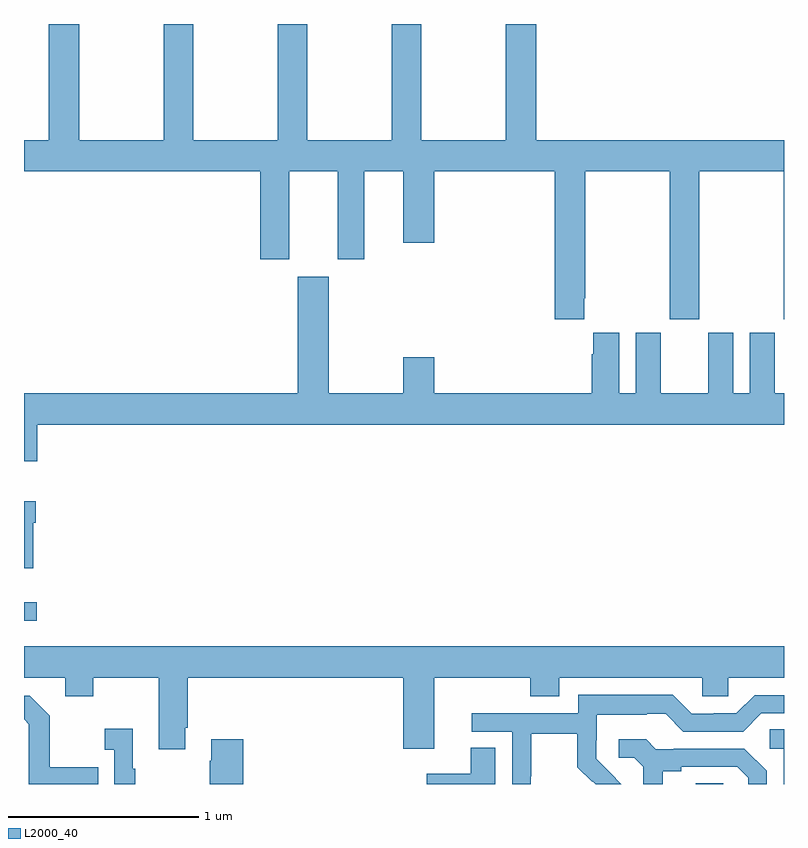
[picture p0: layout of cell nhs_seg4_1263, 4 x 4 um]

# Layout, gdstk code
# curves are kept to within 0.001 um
import gdstk
lib = gdstk.Library(unit=1e-6, precision=1e-09)
def R(c, l, rs):  # rectangles x0, y0, x1, y1
    for r in rs: c.add(gdstk.rectangle(r[:2], r[2:], *l))
def P(c, l, *ps):  # polygons
    for p in ps: c.add(gdstk.Polygon(p, *l))
L2000_40 = (2000, 40)

nhs_seg4_1263 = lib.new_cell('nhs_seg4_1263')
R(nhs_seg4_1263, L2000_40, [(178.535,822.9,178.68,822.905), (175,823.76,175.066,823.857)])
P(nhs_seg4_1263, L2000_40, [(177.695,826.9),(177.535,826.9),(177.535,826.288),(177.09,826.288),(177.09,826.9),(176.935,826.9),(176.935,826.288),(176.49,826.288),(176.49,826.9),(176.335,826.9),(176.335,826.288),(175.89,826.288),(175.89,826.9),(175.735,826.9),(175.735,826.288),(175.29,826.288),(175.29,826.9),(175.13,826.9),(175.13,826.288),(175,826.288),(175,826.124),(176.243,826.124),(176.243,825.663),(176.395,825.663),(176.395,826.124),(176.651,826.124),(176.651,825.663),(176.791,825.663),(176.791,826.124),(176.996,826.124),(176.996,825.75),(177.16,825.75),(177.16,826.124),(177.794,826.124),(177.794,825.345),(177.949,825.345),(177.949,825.457),(177.954,825.457),(177.954,826.124),(178.399,826.124),(178.399,825.345),(178.554,825.345),(178.554,826.124),(178.999,826.124),(178.999,825.345),(179,825.345),(179,826.288),(177.695,826.288)],
  [(179,824.956),(178.951,824.956),(178.951,825.274),(178.82,825.274),(178.82,824.956),(178.732,824.956),(178.732,825.274),(178.601,825.274),(178.601,824.956),(178.351,824.956),(178.351,825.274),(178.22,825.274),(178.22,824.956),(178.132,824.956),(178.132,825.274),(177.995,825.274),(177.995,825.161),(177.989,825.161),(177.989,824.956),(177.16,824.956),(177.16,825.145),(176.996,825.145),(176.996,824.956),(176.605,824.956),(176.605,825.571),(176.441,825.571),(176.441,824.956),(175,824.956),(175,824.598),(175.07,824.598),(175.07,824.792),(179,824.792)],
  [(175.048,824.276),(175.061,824.276),(175.061,824.389),(175,824.389),(175,824.036),(175.048,824.036)],
  [(175.849,823.195),(175.862,823.195),(175.862,823.46),(176.996,823.46),(176.996,823.086),(177.16,823.086),(177.16,823.46),(177.665,823.46),(177.665,823.361),(177.817,823.361),(177.817,823.46),(178.569,823.46),(178.569,823.362),(178.707,823.362),(178.707,823.46),(179,823.46),(179,823.624),(175,823.624),(175,823.46),(175.217,823.46),(175.217,823.361),(175.365,823.361),(175.365,823.46),(175.709,823.46),(175.709,823.083),(175.849,823.083)],
  [(177.666,822.94),(177.669,822.94),(177.669,823.164),(177.913,823.164),(177.913,822.989),(177.99,822.912),(177.993,822.915),(178.008,822.9),(178.144,822.9),(178.012,823.034),(178.012,823.131),(178.014,823.131),(178.014,823.265),(178.277,823.265),(178.277,823.269),(178.377,823.269),(178.47,823.176),(178.785,823.176),(178.881,823.272),(179,823.272),(179,823.368),(178.845,823.368),(178.749,823.272),(178.631,823.272),(178.631,823.269),(178.515,823.269),(178.415,823.369),(177.918,823.369),(177.918,823.272),(177.357,823.272),(177.357,823.176),(177.57,823.176),(177.57,822.9),(177.666,822.9)],
  [(175.391,822.987),(175.135,822.987),(175.135,823.259),(175.029,823.365),(175,823.365),(175,823.241),(175.026,823.215),(175.026,822.9),(175.391,822.9)],
  [(175.585,822.979),(175.573,822.979),(175.573,823.192),(175.425,823.192),(175.425,823.079),(175.476,823.079),(175.476,822.9),(175.585,822.9)],
  [(179,823.187),(178.926,823.187),(178.926,823.086),(178.998,823.086),(178.998,822.9),(179,822.9)],
  [(176.153,823.135),(175.985,823.135),(175.985,823.022),(175.978,823.022),(175.978,822.9),(176.153,822.9)],
  [(178.363,822.968),(178.459,822.968),(178.459,822.99),(178.754,822.99),(178.811,822.933),(178.811,822.9),(178.908,822.9),(178.908,822.97),(178.792,823.086),(178.42,823.086),(178.42,823.083),(178.326,823.083),(178.274,823.135),(178.131,823.135),(178.131,823.038),(178.212,823.038),(178.259,822.991),(178.259,822.9),(178.363,822.9)],
  [(177.481,823.091),(177.35,823.091),(177.35,822.955),(177.12,822.955),(177.12,822.9),(177.481,822.9)])

lib.write_gds('nhs_seg4_1263.gds')
